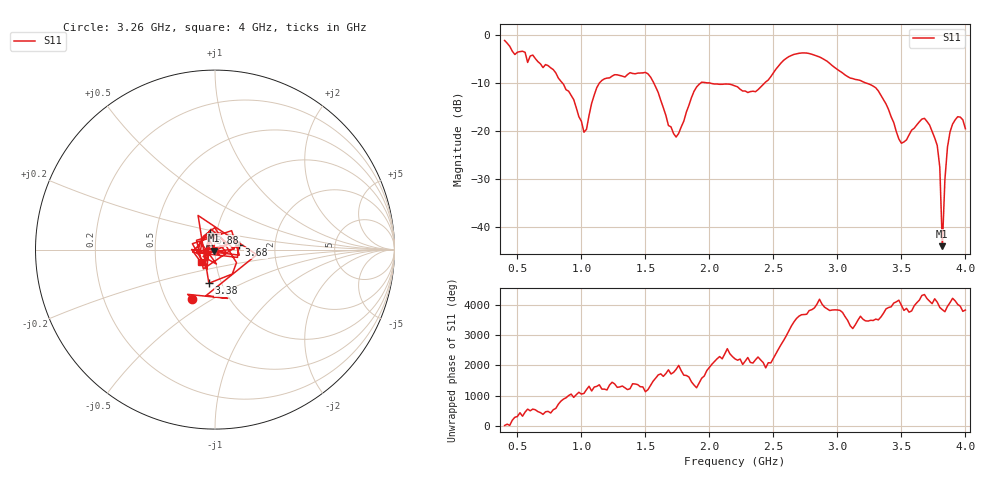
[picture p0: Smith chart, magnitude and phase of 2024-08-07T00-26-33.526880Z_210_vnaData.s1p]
!Created with skrf (http://scikit-rf.org).
# Hz S RI R 50.0
!freq ReS11 ImS11
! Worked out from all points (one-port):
!   181 points, 400 MHz to 4 GHz, reference 50 ohm
!   lowest |S11| = -44.0 dB at 3.82 GHz (marker M1), VSWR 1.01, Z = 49.6 - j0.502 ohm
!   |S11| at or under -10 dB: 1.565 GHz to 1.934 GHz (368.7 MHz wide, 21.1 % of centre); 1.983 GHz to 2.433 GHz (450.2 MHz wide, 20.4 % of centre); 3.219 GHz to end of sweep (the widest 3 of 4)
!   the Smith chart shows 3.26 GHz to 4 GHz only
!   S11 on the Smith chart (normalised r, x): 3.26 GHz: 0.68, -0.41; 3.38 GHz: 0.87, -0.34; 3.68 GHz: 1.30, +0.07; 3.88 GHz: 0.93, +0.18; 4 GHz: 0.85, -0.12
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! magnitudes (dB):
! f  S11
! 400 MHz  -1.2
! 860 MHz  -10.3
! 940 MHz  -13.5
! 1.02 GHz  -20.3
! 1.14 GHz  -10.0
! 1.3 GHz  -8.5
! 1.52 GHz  -8.1
! 1.68 GHz  -18.9
! 1.76 GHz  -20.5
! 1.92 GHz  -10.3
! 2.2 GHz  -10.6
! 2.36 GHz  -11.8
! 2.66 GHz  -4.1
! 2.86 GHz  -4.6
! 3.1 GHz  -9.0
! 3.26 GHz  -10.4
! 3.38 GHz  -14.4
! 3.5 GHz  -22.6
! 3.56 GHz  -20.8
! 3.68 GHz  -17.4
! 3.78 GHz  -23.0
! 3.8 GHz  -27.5
! 3.82 GHz  -44.0
! 3.84 GHz  -30.1
! 3.86 GHz  -23.4
! 3.88 GHz  -20.2
! 3.94 GHz  -17.0
! 4 GHz  -19.5
